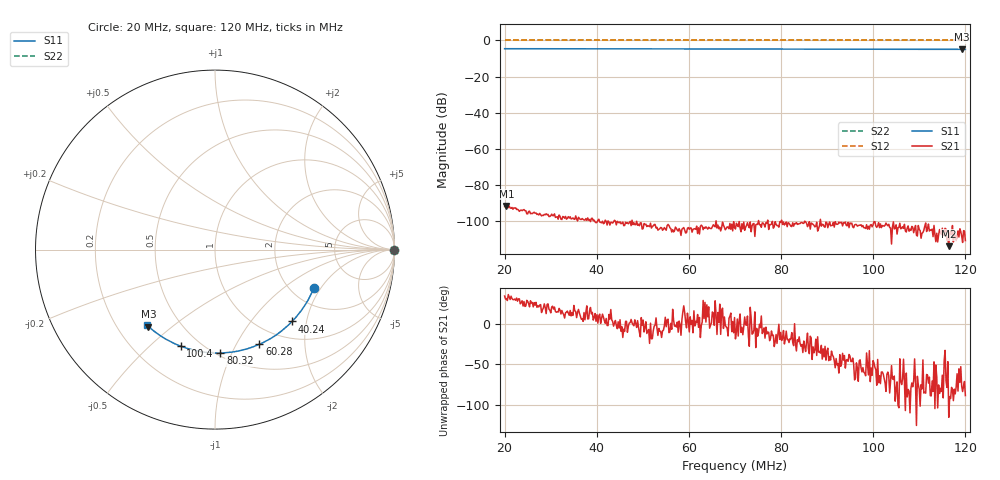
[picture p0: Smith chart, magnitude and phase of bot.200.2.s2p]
! Anritsu VNA Master:  Model: MS2036C/10/77
! SN:  1601066
! /bd0/18may08.cable.cal/bot.200.2.s2p
! Existing Calibration Information:
! TYPE:  Current Settings,  Active Cal Settings
! TIME:  05/08/2018 06:10:38 PM,  05/08/2018 05:57:55 PM
! INTERNAL TEMP:  49.3 C,  49.3 C
! # POINTS:  500,  500
! START FREQ:  20.000 MHz,  20.000 MHz
! STOP FREQ:  120.000 MHz,  120.000 MHz
! SOURCE POWER:  High,  High
! IFBW:  50 Hz,  50 Hz
! AVG FACTOR:  1 ,  1
! REF PLANE 1:  0 mm,  0 mm
! REF PLANE 2:  0 mm,  0 mm
! CAL TYPE:  Full S11,  Full S11
! CAL METHOD:  SOLT,  SOLT
! CAL LINE TYPE:  Coax,  Coax
! DUT PORT 1:  K-Conn(F),  K-Conn(F)
! DUT PORT 2:  K-Conn(F),  K-Conn(F)
! CAL STATUS:  OK: Accuracy High,  --
# GHZ S DB R 50.0
! FREQ.GHZ  S11DB  S11A  S21DB  S21A  S12DB  S12A  S22DB  S22A
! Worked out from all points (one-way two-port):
!   500 points, 20 MHz to 120 MHz, reference 50 ohm
!   highest |S21| = -91.65 dB at 20.4 MHz (marker M1); lowest = -113.9 dB at 116.4 MHz (marker M2)
!   lowest |S11| = -4.9 dB at 119.2 MHz (marker M3), VSWR 3.61, Z = 16.5 - j20.8 ohm
!   |S11| at or under -10 dB: nowhere
!   |S22| runs from 0.0 to 0.0 dB; largest |S21 - S12| = 1
!   S11 on the Smith chart (normalised r, x): 20 MHz: 2.64, -1.73; 40.24 MHz: 1.35, -1.65; 60.28 MHz: 0.78, -1.25; 80.32 MHz: 0.52, -0.91; 100.4 MHz: 0.39, -0.63; 120 MHz: 0.33, -0.41
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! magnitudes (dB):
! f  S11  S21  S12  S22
! 20 MHz  -4.6  -92.0  0.0  0.0
! 20.4 MHz  -4.6  -91.7  0.0  0.0
! 30.62 MHz  -4.6  -97.0  0.0  0.0
! 31.62 MHz  -4.6  -99.0  0.0  0.0
! 36.83 MHz  -4.6  -98.6  0.0  0.0
! 40.24 MHz  -4.6  -99.6  0.0  0.0
! 53.47 MHz  -4.7  -104.6  0.0  0.0
! 60.28 MHz  -4.7  -103.8  0.0  0.0
! 61.88 MHz  -4.7  -106.9  0.0  0.0
! 62.89 MHz  -4.7  -102.8  0.0  0.0
! 66.69 MHz  -4.7  -103.3  0.0  0.0
! 70.1 MHz  -4.7  -104.4  0.0  0.0
! 80.32 MHz  -4.8  -101.9  0.0  0.0
! 86.73 MHz  -4.8  -101.3  0.0  0.0
! 93.55 MHz  -4.8  -100.9  0.0  0.0
! 97.96 MHz  -4.9  -103.6  0.0  0.0
! 100.4 MHz  -4.9  -100.3  0.0  0.0
! 103.4 MHz  -4.9  -101.8  0.0  0.0
! 107.8 MHz  -4.9  -105.6  0.0  0.0
! 116.4 MHz  -4.9  -113.9  0.0  0.0
! 119.2 MHz  -4.9  -108.4  0.0  0.0
! 120 MHz  -4.9  -110.8  0.0  0.0
